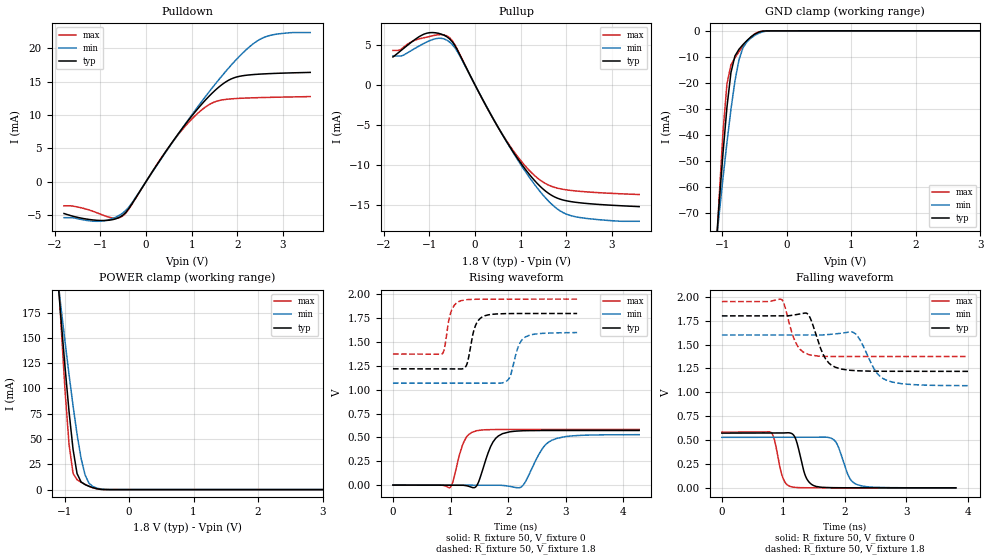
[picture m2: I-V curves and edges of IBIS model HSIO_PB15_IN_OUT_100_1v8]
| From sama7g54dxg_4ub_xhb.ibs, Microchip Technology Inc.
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|   Model   HSIO_PB15_IN_OUT_100
[Model] HSIO_PB15_IN_OUT_100_1v8
Model_type I/O
Enable   Active-High
Vinl  =  0.54
Vinh  =  1.26
Vmeas =  0.900
| Capacitance   typ   min   max
C_comp   1.16281491828471e-12   1.110744334024137e-12   1.232807086709059e-12
| Variables   typ   min   max
[GND Clamp Reference]   0   0   0
[POWER Clamp Reference]   1.8   1.6   1.95
[Pulldown Reference]   0   0   0
[Pullup Reference]   1.8   1.6   1.95
[Temperature Range]   25   125   -40
[Voltage Range]   1.8   1.6   1.95
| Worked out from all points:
|   slope of the pulldown table from 0 to 0.27 V, typ, clamps not added: 94.7 ohm
|   slope of the pullup table from 0 to 0.27 V, typ, clamps not added: 92.7 ohm
|   GND clamp passes 1 mA (typ) near -0.48 V on its own axis
|   POWER clamp passes 1 mA (typ) near -0.51 V on its own axis
|   falling waveform, R_fixture 50, V_fixture 0: 20-80 % time 139ps typ, 177ps min, 117ps max; typ from 0.573 V to 0 V
|   falling waveform, R_fixture 50, V_fixture 1.8: 20-80 % time 213ps typ, 267ps min, 175ps max; typ from 1.8 V to 1.22 V
|   rising waveform, R_fixture 50, V_fixture 0: 20-80 % time 211ps typ, 290ps min, 166ps max; typ from 0 V to 0.572 V
|   rising waveform, R_fixture 50, V_fixture 1.8: 20-80 % time 128ps typ, 154ps min, 109ps max; typ from 1.22 V to 1.8 V
[GND Clamp]
| Voltage   I(typ)   I(min)   I(max)
-1.8V     -342.3mA   -209.2mA   -383.3mA
-1.117V   -88.41mA   -86.17mA   -95.58mA
-1.055V   -67.24mA   -71.21mA   -65.53mA
-993.1mV  -47.21mA   -56.7mA    -39.17mA
-931mV    -29.36mA   -42.92mA   -20.44mA
-869mV    -16.03mA   -30.19mA   -13.06mA
-806.9mV  -9.642mA   -19.24mA   -10.33mA
-744.8mV  -7.096mA   -11.16mA   -8.045mA
-682.8mV  -5.304mA   -6.514mA   -5.914mA
-496.6mV  -1.217mA   -1.697mA   -1.105mA
-248.3mV  -21.53uA   -36.43uA   -27.1uA
3.6V      0A         0A         0A
[POWER Clamp]
| Voltage   I(typ)   I(min)   I(max)
-1.8V     802.5mA    491.9mA    900.5mA
-1.117V   217.9mA    214.2mA    234.3mA
-1.055V   168.5mA    179.9mA    163.3mA
-993.1mV  121.1mA    146.2mA    97.89mA
-931mV    77.15mA    113.8mA    44.83mA
-869mV    39.82mA    82.92mA    16.06mA
-806.9mV  15.89mA    54.71mA    9.825mA
-744.8mV  7.576mA    31.01mA    7.34mA
-682.8mV  4.957mA    14.53mA    5.181mA
-558.6mV  1.859mA    2.935mA    1.718mA
-372.4mV  36.98uA    212.4uA    18.99uA
3.6V      0A         0A         0A
[Pulldown]
| Voltage   I(typ)   I(min)   I(max)
-1.8V     -4.784mA   -5.41mA    -3.622mA
-993.1mV  -5.829mA   -5.93mA    -4.902mA
-682.8mV  -5.615mA   -5.385mA   -5.484mA
-496.6mV  -4.954mA   -4.628mA   -5.076mA
-310.3mV  -3.33mA    -3.197mA   -3.403mA
620.7mV   6.373mA    6.318mA    6.315mA
993.1mV   9.771mA    9.919mA    9.327mA
1.366V    12.71mA    13.33mA    11.49mA
1.862V    15.4mA     17.45mA    12.42mA
2.483V    16.13mA    21.3mA     12.61mA
2.917V    16.27mA    22.19mA    12.68mA
3.6V      16.39mA    22.37mA    12.77mA
[Pullup]
| Voltage   I(typ)   I(min)   I(max)
-1.8V     3.509mA    3.632mA    4.33mA
-1.614V   4.36mA     3.632mA    4.505mA
-1.117V   6.374mA    5.216mA    5.918mA
-806.9mV  6.48mA     5.849mA    6.295mA
-620.7mV  6.047mA    5.625mA    6.156mA
-372.4mV  4.21mA     4.047mA    4.29mA
620.7mV   -6.42mA    -6.42mA    -6.364mA
993.1mV   -9.703mA   -9.888mA   -9.411mA
1.366V    -12.34mA   -12.91mA   -11.64mA
1.738V    -14.01mA   -15.23mA   -12.82mA
2.048V    -14.56mA   -16.28mA   -13.17mA
3.6V      -15.24mA   -17.08mA   -13.72mA
[Ramp]
dV/dt_r   0.343906/0.211198n  0.317249/0.290188n  0.350043/0.16669n
dV/dt_f   0.348482/0.213387n  0.318744/0.268538n  0.345657/0.176024n
R_load = 50
[Falling Waveform]
R_fixture = 50
V_fixture = 0
V_fixture_min = 0
V_fixture_max = 0
| Time   V(typ)   V(min)   V(max)
0s        573.2mV    528.7mV    583.4mV
799ps     574mV      529.1mV    579.4mV
986.1ps   574.1mV    529.2mV    114.8mV
1.136ns   568.6mV    529.3mV    9.656mV
1.376ns   99.94mV    529.4mV    1.118mV
1.529ns   15.54mV    529.5mV    581uV
1.848ns   1.678mV    483.9mV    222.9uV
2.056ns   692uV      128.4mV    215.3uV
2.192ns   451.5uV    36.65mV    215.2uV
3.804ns   449.5uV    180.2uV    214.2uV
[Falling Waveform]
R_fixture = 50
V_fixture = 1.8
V_fixture_min = 1.6
V_fixture_max = 1.95
| Time   V(typ)   V(min)   V(max)
0s        1.8V       1.6V       1.95V
975.8ps   1.8V       1.6V       1.97V
1.19ns    1.811V     1.601V     1.532V
1.414ns   1.805V     1.601V     1.394V
1.64ns    1.405V     1.601V     1.377V
1.838ns   1.264V     1.612V     1.375V
2.172ns   1.227V     1.612V     1.375V
2.495ns   1.221V     1.225V     1.375V
2.671ns   1.22V      1.128V     1.375V
4.004ns   1.219V     1.07V      1.375V
[Rising Waveform]
R_fixture = 50
V_fixture = 0
V_fixture_min = 0
V_fixture_max = 0
| Time   V(typ)   V(min)   V(max)
0s        1.811nV    304.7nV    67.61pV
989.2ps   -801.1uV   -342.6uV   -27.24mV
1.229ns   -2.513mV   -425.8uV   452.7mV
1.446ns   -11.98mV   -501.1uV   569.5mV
1.694ns   402.3mV    -586.9uV   581.7mV
1.901ns   539.2mV    -3.519mV   582.7mV
2.228ns   569mV      -19.6mV    583.1mV
2.597ns   572.5mV    386.3mV    583.1mV
2.837ns   572.5mV    488.3mV    583.1mV
4.273ns   572.5mV    528.4mV    583.1mV
[Rising Waveform]
R_fixture = 50
V_fixture = 1.8
V_fixture_min = 1.6
V_fixture_max = 1.95
| Time   V(typ)   V(min)   V(max)
0s        1.219V     1.069V     1.374V
852.8ps   1.219V     1.068V     1.376V
1.001ns   1.219V     1.068V     1.805V
1.168ns   1.217V     1.068V     1.931V
1.283ns   1.266V     1.068V     1.944V
1.442ns   1.687V     1.068V     1.949V
1.592ns   1.775V     1.068V     1.949V
1.996ns   1.798V     1.102V     1.95V
2.305ns   1.799V     1.555V     1.95V
3.197ns   1.799V     1.599V     1.95V
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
